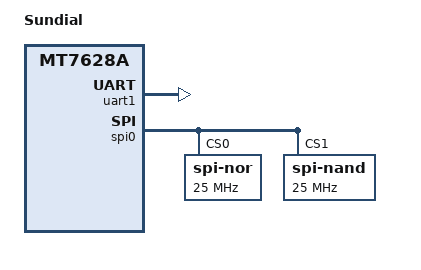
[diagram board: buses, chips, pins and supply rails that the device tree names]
// SPDX-License-Identifier: GPL-2.0
/*
 * Copyright (C) 2020 iRobot Corporation
 *
 * Author: Patrick Doyle <pdoyle@irobot.com>
 *
 * Don't forget to review sundial-seiflash.dts if you change this file.
 */

/dts-v1/;

#include "mt7628a.dtsi"

/ {
	compatible = "irobot,irobot-mt7688", "ralink,mt7628a-soc";
	model = "Sundial";

	aliases {
		serial0 = &uart1;
		spi0 = &spi0;
	};

	chosen {
		stdout-path = &uart1;
	};

	signature {
		/* Create a dummy key and mark it as "required to verify configurations"
		 * so that we always verify configurations prior to loading them.  Otherwise,
		 * an attacker could zero the TSK blob in flash (assuming (s)he could get
		 * access to the NOR flash) and compromise the system.
		 */
		key-dummy {
			required = "conf";
		};
	};
};

&uart1 {
	status = "okay";
};

&spi0 {
	status = "okay";
	num-cs = <2>;

	spi-nor@0 {
		#address-cells = <1>;
		#size-cells = <1>;
		compatible = "jedec,spi-nor";
		spi-max-frequency = <25000000>;
		reg = <0>;
	};

	spi-nand@1 {
		#address-cells = <1>;
		#size-cells = <1>;
		compatible = "spi-nand";
		spi-max-frequency = <25000000>;
		reg = <1>;
	};
};
